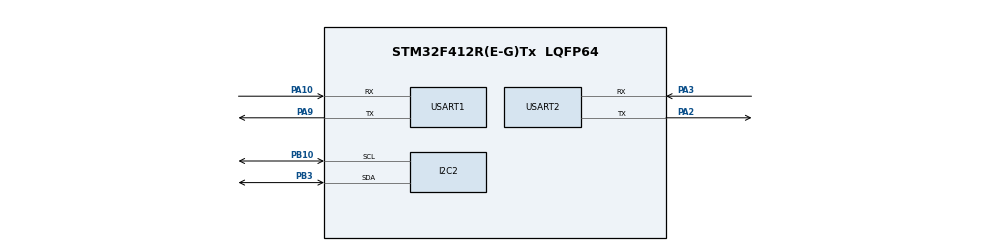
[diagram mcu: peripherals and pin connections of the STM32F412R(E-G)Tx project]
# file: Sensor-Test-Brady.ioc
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Mcu.Family=STM32F4
Mcu.Name=STM32F412R(E-G)Tx
Mcu.Package=LQFP64
NVIC.PriorityGroup=NVIC_PRIORITYGROUP_4
PA10.Mode=Asynchronous
PA10.Signal=USART1_RX
PA2.Mode=Asynchronous
PA2.Signal=USART2_TX
PA3.Mode=Asynchronous
PA3.Signal=USART2_RX
PA9.Mode=Asynchronous
PA9.Signal=USART1_TX
PB10.Mode=I2C
PB10.Signal=I2C2_SCL
PB3.Mode=I2C
PB3.Signal=I2C2_SDA
ProjectManager.HeapSize=0x200
ProjectManager.StackSize=0x400
ProjectManager.TargetToolchain=STM32CubeIDE
RCC.CortexFreq_Value=16000000
RCC.USBFreq_Value=96000000
RCC.VCOOutputFreq_Value=192000000
USART1.VirtualMode=VM_ASYNC
USART2.VirtualMode=VM_ASYNC
board=custom

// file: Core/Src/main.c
/* USER CODE BEGIN Header */
/**
  ******************************************************************************
  * @file           : main.c
  * @brief          : Main program body
  ******************************************************************************
  * @attention
  *
  * Copyright (c) 2024 STMicroelectronics.
  * All rights reserved.
  *
  * This software is licensed under terms that can be found in the LICENSE file
  * in the root directory of this software component.
  * If no LICENSE file comes with this software, it is provided AS-IS.
  *
  ******************************************************************************
  */
/* USER CODE END Header */
#include "main.h"

/* USER CODE BEGIN Includes */

#include "stm32f4xx_hal.h"
#include <string.h>
#include <stdio.h>
#include <math.h>

/* USER CODE END Includes */

/* USER CODE BEGIN PD */

typedef uint8_t bool;
#define false 0
#define true 1

#define MPL3115A2_PRESSURE_MSB 0x01
#define MPL3115A2_ADDR 0x60

#define INA219_ADDRESS 0x40
#define INA219_REG_BUS_VOLTAGE  0x02
#define INA219_REG_SHUNT_VOLTAGE 0x01
#define INA219_REG_POWER 0x03
#define INA219_REG_CURRENT 0x04

#define MPU_ADDRESS 0x69

#define PA_ADDRESS 0x42   // Adjust according to your PA1010D address
#define PA_BFR_SIZE 255

#define MMC5603_ADDRESS 0x0C  // MMC5603 I2C address
#define MMC5603_REG_X_LSB 0x00
#define MMC5603_REG_X_MSB 0x01
#define MMC5603_REG_Y_LSB 0x02
#define MMC5603_REG_Y_MSB 0x03
#define MMC5603_REG_Z_LSB 0x04
#define MMC5603_REG_Z_MSB 0x05

#define PI 3.141592

/* USER CODE END PD */

I2C_HandleTypeDef hi2c2;

UART_HandleTypeDef huart1;
UART_HandleTypeDef huart2;

void SystemClock_Config(void);
static void MX_GPIO_Init(void);
static void MX_USART1_UART_Init(void);
static void MX_USART2_UART_Init(void);
static void MX_I2C2_Init(void);

/* USER CODE BEGIN 0 */

float temperature = 0.0;
float pressure = 0.0;

float voltage = 0.0;

float x_axis = 0.0;
float y_axis = 0.0;
float z_axis = 0.0;

HAL_StatusTypeDef pa_ret;
uint8_t pa_buf[PA_BFR_SIZE];
HAL_StatusTypeDef pa_init_ret[5];
uint8_t prev_time = 0;
uint8_t i2cret[128];
char parse_buf[255];
char gps_lat_dir;
char gps_long_dir;
uint8_t gps_time_hr = 0;
uint8_t gps_time_min = 0;
uint8_t gps_time_sec = 0;
float gps_altitude = 0;
float gps_latitude = 0;
float gps_longitude = 0;
uint8_t gps_sats = 0;

int16_t mag_x, mag_y, mag_z;

// MPU 6050 DATA
uint8_t mpu_buf[6];
int16_t raw_accel_x;
int16_t raw_accel_y;
int16_t raw_accel_z;
float accel_x;
float accel_y;
float accel_z;
int16_t raw_gyro_x = 0;
int16_t raw_gyro_y = 0;
int16_t raw_gyro_z = 0;
float gyro_x;
float gyro_y;
float gyro_z;
float tilt_x = 0;
float tilt_y = 0;
float rot_z = 0;
HAL_StatusTypeDef mpu_ret;

uint8_t read_mpl3115a2(void) {
    uint8_t reg_addr = MPL3115A2_PRESSURE_MSB;  // Pressure MSB register
    uint8_t mpl3115a2_buf[5];                   // Buffer to store pressure and temperature data
    uint8_t ret;                                // Return status of I2C communication
    uint32_t pressure_raw;
    uint16_t temp_raw;

    // Check if MPL3115A2 is ready for communication
    ret = HAL_I2C_IsDeviceReady(&hi2c2, MPL3115A2_ADDR << 1, 3, 5);
    if (ret == HAL_OK) {
        // Transmit the register address (starting from Pressure MSB)
        ret = HAL_I2C_Master_Transmit(&hi2c2, MPL3115A2_ADDR << 1, &reg_addr, 1, 100);
        if (ret == HAL_OK) {
            // Receive 5 bytes (3 bytes for pressure, 2 bytes for temperature)
            ret = HAL_I2C_Master_Receive(&hi2c2, MPL3115A2_ADDR << 1, mpl3115a2_buf, 5, 100);
            if (ret == HAL_OK) {
                // Combine the received bytes for pressure (20-bit value)
                pressure_raw = ((mpl3115a2_buf[0] << 16) | (mpl3115a2_buf[1] << 8) | mpl3115a2_buf[2]) >> 4;
                pressure = pressure_raw / 4.0;  // Convert raw pressure to Pascals

                // Combine the received bytes for temperature (12-bit value)
                temp_raw = (mpl3115a2_buf[3] << 8) | mpl3115a2_buf[4];
                temperature = temp_raw / 256.0;  // Convert raw temperature to Celsius
            }
        }
    }

    return ret;  // Return the I2C communication status
}

uint8_t read_ina219() {
    uint8_t reg_addr = INA219_REG_BUS_VOLTAGE; // Set register to Bus Voltage
    uint8_t ina_buf[2];                        // Buffer to store the received data
    uint8_t ina_ret;                           // Return status of I2C communication

    // Check if INA219 is ready for communication
    ina_ret = HAL_I2C_IsDeviceReady(&hi2c2, INA219_ADDRESS, 3, 5);
    if (ina_ret == HAL_OK) {
        // Transmit the address of the Bus Voltage Register
        ina_ret = HAL_I2C_Master_Transmit(&hi2c2, INA219_ADDRESS, &reg_addr, 1, 100);
        if (ina_ret == HAL_OK) {
            // Receive 2 bytes of data from the Bus Voltage Register
            HAL_I2C_Master_Receive(&hi2c2, INA219_ADDRESS, ina_buf, 2, 10);

            // Combine the received bytes into a single 16-bit value
            int16_t raw_bus_voltage = (int16_t)(ina_buf[0] << 8 | ina_buf[1]);

            // Convert the raw value to bus voltage (in volts)
            float bus_voltage = raw_bus_voltage / 1600.0;

            // Store or return the calculated voltage as needed
            voltage = bus_voltage;
        }
    }

    return ina_ret;  // Return the I2C communication status
}

uint8_t set_gps(char* buf, uint8_t order){
	char tmp[2];
	char tmp2[3];

	if(strlen(buf)==0)
		return 0;

	switch(order) {
	case 0: //STATUS
		if (strlen(buf)<5 || buf[0] != 'G' || buf[2] != 'G' || buf[3] != 'G' || buf[4] != 'A'){
			return 1;
		}
		break;
	case 1: //TIME
		memcpy(tmp, &buf[0], 2);
		gps_time_hr = atoi(tmp);
		memcpy(tmp, &buf[2], 2);
		gps_time_min = atoi(tmp);
		memcpy(tmp, &buf[4], 2);
		gps_time_sec = atoi(tmp);

		break;
	case 2: //LATITUDE
		gps_latitude = atof(buf) / 100;
		break;
	case 3: //LATITUDE_DIR
		gps_lat_dir = *buf;
		if (gps_lat_dir == 'S') {
			gps_latitude*= -1;
		}
		break;
	case 4: //LONGITUDE
		gps_longitude = atof(buf) / 100;
		break;
	case 5: //LONGITUDE DIR
		gps_long_dir = *buf;
		if (gps_long_dir == 'W') {
			gps_longitude*= -1;
		}
		break;
	case 7: //SATS
		gps_sats = atoi(buf);
		break;
	case 9: //ALTITUDE
		gps_altitude = atof(buf);
		break;
	default:
		break;
	}

	return 0;
}

bool parse_nmea(char *buf){
	uint8_t i;
	uint8_t last = 0;
	uint8_t order = 0;

	for(i=0; i<255;i++){
		if ( buf[i] == 44 ){
			if (last != i){
				memset(parse_buf, '\000', sizeof parse_buf);
				memcpy(parse_buf, &buf[last], i-last);
				if(set_gps(parse_buf, order)){
					return false;
				}
			}
			last = i + 1;
			order = order + 1;
		} else if (buf[i] == 42) {
			break;
		}
	}

	return true;
}

uint8_t read_pa1010d(void) {
	uint8_t pa1010d_i;
	uint8_t pa1010d_bytebuf;

	/* PA1010D (GPS) */
	for(pa1010d_i=0; pa1010d_i<255; pa1010d_i++){
		pa_ret = HAL_I2C_Master_Receive(&hi2c2, (uint16_t)(PA_ADDRESS << 1), &pa1010d_bytebuf, 1, 100);
		if (pa1010d_bytebuf == '$'){
			break;
		}
		pa_buf[pa1010d_i] = pa1010d_bytebuf;
	}
	parse_nmea(pa_buf);

	return 1;
}

uint8_t read_mmc5603(void) {
    uint8_t reg_addr = MMC5603_REG_X_LSB;  // Start with X-axis LSB register
    uint8_t mmc5603_buf[6];                // Buffer to store 6 bytes of data
    uint8_t mmc5603_ret;                   // Return status of I2C communication

    // Check if MMC5603 is ready for communication
    mmc5603_ret = HAL_I2C_IsDeviceReady(&hi2c2, MMC5603_ADDRESS << 1, 3, 5);
    if (mmc5603_ret == HAL_OK) {
        // Transmit the address of the X-axis LSB register
        mmc5603_ret = HAL_I2C_Master_Transmit(&hi2c2, MMC5603_ADDRESS << 1, &reg_addr, 1, 100);
        if (mmc5603_ret == HAL_OK) {
            // Receive 6 bytes of data from the X, Y, and Z registers (2 bytes each)
            mmc5603_ret = HAL_I2C_Master_Receive(&hi2c2, MMC5603_ADDRESS << 1, mmc5603_buf, 6, 100);

            if (mmc5603_ret == HAL_OK) {
                // Combine the received bytes into 16-bit values for each axis
                mag_x = (int16_t)(mmc5603_buf[1] << 8 | mmc5603_buf[0]);
                mag_y = (int16_t)(mmc5603_buf[3] << 8 | mmc5603_buf[2]);
                mag_z = (int16_t)(mmc5603_buf[5] << 8 | mmc5603_buf[4]);
            }
        }
    }

    return mmc5603_ret;  // Return the I2C communication status
}

uint8_t read_mpu() {
	uint8_t imu_addr = 0x3B;
	uint8_t gyro_addr = 0x43;

	mpu_ret = HAL_I2C_IsDeviceReady(&hi2c2, (uint16_t)(MPU_ADDRESS<<1), 3, 5);
    if (mpu_ret == HAL_OK){
		mpu_ret = HAL_I2C_Master_Transmit(&hi2c2, (uint16_t)(MPU_ADDRESS << 1), &imu_addr, 1, 100);
		if ( mpu_ret == HAL_OK ) {
			mpu_ret = HAL_I2C_Master_Receive(&hi2c2, (MPU_ADDRESS << 1), &mpu_buf, 6, 100);
			if ( mpu_ret == HAL_OK ) {
				// shift first byte left, add second byte
				raw_accel_x = (int16_t)(mpu_buf[0] << 8 | mpu_buf[1]);
				raw_accel_y = (int16_t)(mpu_buf[2] << 8 | mpu_buf[3]);
				raw_accel_z = (int16_t)(mpu_buf[4] << 8 | mpu_buf[5]);

				// get float values in g
				accel_x = raw_accel_x/16384.0;
				accel_y = raw_accel_y/16384.0;
				accel_z = raw_accel_z/16384.0;
				tilt_x = atan(accel_y/accel_z)*180/PI;
				tilt_y = atan(accel_x/accel_z)*180/PI;
			}
		}

		mpu_ret = HAL_I2C_Master_Transmit(&hi2c2, (uint16_t)(MPU_ADDRESS << 1), &gyro_addr, 1, 100);
		if ( mpu_ret == HAL_OK ) {
			mpu_ret = HAL_I2C_Master_Receive(&hi2c2, (MPU_ADDRESS << 1), &mpu_buf, 6, 100);
			if ( mpu_ret == HAL_OK ) {
				// shift first byte left, add second byte
				raw_gyro_x = (int16_t)(mpu_buf[0] << 8 | mpu_buf [1]);
				raw_gyro_y = (int16_t)(mpu_buf[2] << 8 | mpu_buf [3]);
				raw_gyro_z = (int16_t)(mpu_buf[4] << 8 | mpu_buf [5]);

				// convert to deg/sec
				gyro_x = raw_gyro_x/131.0;
				gyro_y = raw_gyro_y/131.0;
				gyro_z = raw_gyro_z/131.0;

				rot_z = gyro_z;
			}
		}
    }

    return mpu_ret;
}

/* USER CODE END 0 */

int main(void)
{

  /* MCU Configuration--------------------------------------------------------*/

  /* Reset of all peripherals, Initializes the Flash interface and the Systick. */
  HAL_Init();

  /* Configure the system clock */
  SystemClock_Config();

  /* Initialize all configured peripherals */
  MX_GPIO_Init();
  MX_USART1_UART_Init();
  MX_USART2_UART_Init();
  MX_I2C2_Init();

  /* Infinite loop */
  /* USER CODE BEGIN WHILE */
  while (1)
  {
    // Temperature ----------------------------------------------------------
	  if (read_mpl3115a2() == HAL_OK){
      printf("Temperature: %.2f°C\n", temperature);
      printf("Pressure: %.2f°C\n", pressure);
    } else{
      printf("Failed to read from mpl3115a2 sensor\n");
    }

	  // Voltage ----------------------------------------------------------
	  if (read_ina219() == HAL_OK) {
		  printf("Bus Voltage: %.2f V\n", voltage);
	  } else {
		  printf("Failed to read from INA219 sensor\n");
	  }

	  // Altitude and GPS ----------------------------------------------------------
	  read_pa1010d();

	  // Output GPS data to UART or other debug interfaces
	  printf("Time: %02d:%02d:%02d\n", gps_time_hr, gps_time_min, gps_time_sec);
	  printf("Latitude: %.6f %c\n", gps_latitude, gps_lat_dir);
	  printf("Longitude: %.6f %c\n", gps_longitude, gps_long_dir);
	  printf("Altitude: %.2f meters\n", gps_altitude);
	  printf("Sats: %d\n", gps_sats);

	  // Magnetic Field ----------------------------------------------------------
	  uint8_t status = read_mmc5603();
	  if (status == HAL_OK) {
		  printf("Magnetic Field - X: %d, Y: %d, Z: %d\n", mag_x, mag_y, mag_z);
	  } else {
		  printf("Error reading MMC5603 data\n");
	  }

	  // Acceleration and Gyro-----------------------------------------------------
	  read_mpu();
	  printf("Accel_x: %.2f \n", accel_x);
	  printf("Accel_y: %.2f \n", accel_y);
	  printf("Accel_z: %.2f \n", accel_z);
	  printf("Gyro_x: %.2f \n", gyro_x);
	  printf("Gyro_y: %.2f \n", gyro_y);
	  printf("Gyro_z: %.2f \n", gyro_z);

	  HAL_Delay(1000);

    /* USER CODE END WHILE */

  }
}

void SystemClock_Config(void)
{
  RCC_OscInitTypeDef RCC_OscInitStruct = {0};
  RCC_ClkInitTypeDef RCC_ClkInitStruct = {0};

  /** Configure the main internal regulator output voltage
  */
  __HAL_RCC_PWR_CLK_ENABLE();
  __HAL_PWR_VOLTAGESCALING_CONFIG(PWR_REGULATOR_VOLTAGE_SCALE1);

  /** Initializes the RCC Oscillators according to the specified parameters
  * in the RCC_OscInitTypeDef structure.
  */
  RCC_OscInitStruct.OscillatorType = RCC_OSCILLATORTYPE_HSI;
  RCC_OscInitStruct.HSIState = RCC_HSI_ON;
  RCC_OscInitStruct.HSICalibrationValue = RCC_HSICALIBRATION_DEFAULT;
  RCC_OscInitStruct.PLL.PLLState = RCC_PLL_NONE;
  if (HAL_RCC_OscConfig(&RCC_OscInitStruct) != HAL_OK)
  {
    Error_Handler();
  }

  /** Initializes the CPU, AHB and APB buses clocks
  */
  RCC_ClkInitStruct.ClockType = RCC_CLOCKTYPE_HCLK|RCC_CLOCKTYPE_SYSCLK
                              |RCC_CLOCKTYPE_PCLK1|RCC_CLOCKTYPE_PCLK2;
  RCC_ClkInitStruct.SYSCLKSource = RCC_SYSCLKSOURCE_HSI;
  RCC_ClkInitStruct.AHBCLKDivider = RCC_SYSCLK_DIV1;
  RCC_ClkInitStruct.APB1CLKDivider = RCC_HCLK_DIV1;
  RCC_ClkInitStruct.APB2CLKDivider = RCC_HCLK_DIV1;

  if (HAL_RCC_ClockConfig(&RCC_ClkInitStruct, FLASH_LATENCY_0) != HAL_OK)
  {
    Error_Handler();
  }
}

static void MX_I2C2_Init(void)
{

  hi2c2.Instance = I2C2;
  hi2c2.Init.ClockSpeed = 100000;
  hi2c2.Init.DutyCycle = I2C_DUTYCYCLE_2;
  hi2c2.Init.OwnAddress1 = 0;
  hi2c2.Init.AddressingMode = I2C_ADDRESSINGMODE_7BIT;
  hi2c2.Init.DualAddressMode = I2C_DUALADDRESS_DISABLE;
  hi2c2.Init.OwnAddress2 = 0;
  hi2c2.Init.GeneralCallMode = I2C_GENERALCALL_DISABLE;
  hi2c2.Init.NoStretchMode = I2C_NOSTRETCH_DISABLE;
  if (HAL_I2C_Init(&hi2c2) != HAL_OK)
  {
    Error_Handler();
  }

}

static void MX_USART1_UART_Init(void)
{

  huart1.Instance = USART1;
  huart1.Init.BaudRate = 115200;
  huart1.Init.WordLength = UART_WORDLENGTH_8B;
  huart1.Init.StopBits = UART_STOPBITS_1;
  huart1.Init.Parity = UART_PARITY_NONE;
  huart1.Init.Mode = UART_MODE_TX_RX;
  huart1.Init.HwFlowCtl = UART_HWCONTROL_NONE;
  huart1.Init.OverSampling = UART_OVERSAMPLING_16;
  if (HAL_UART_Init(&huart1) != HAL_OK)
  {
    Error_Handler();
  }

}

static void MX_USART2_UART_Init(void)
{

  huart2.Instance = USART2;
  huart2.Init.BaudRate = 115200;
  huart2.Init.WordLength = UART_WORDLENGTH_8B;
  huart2.Init.StopBits = UART_STOPBITS_1;
  huart2.Init.Parity = UART_PARITY_NONE;
  huart2.Init.Mode = UART_MODE_TX_RX;
  huart2.Init.HwFlowCtl = UART_HWCONTROL_NONE;
  huart2.Init.OverSampling = UART_OVERSAMPLING_16;
  if (HAL_UART_Init(&huart2) != HAL_OK)
  {
    Error_Handler();
  }

}

static void MX_GPIO_Init(void)
{

  /* GPIO Ports Clock Enable */
  __HAL_RCC_GPIOA_CLK_ENABLE();
  __HAL_RCC_GPIOB_CLK_ENABLE();

}

void Error_Handler(void)
{
  __disable_irq();
  while (1)
  {
  }
}
